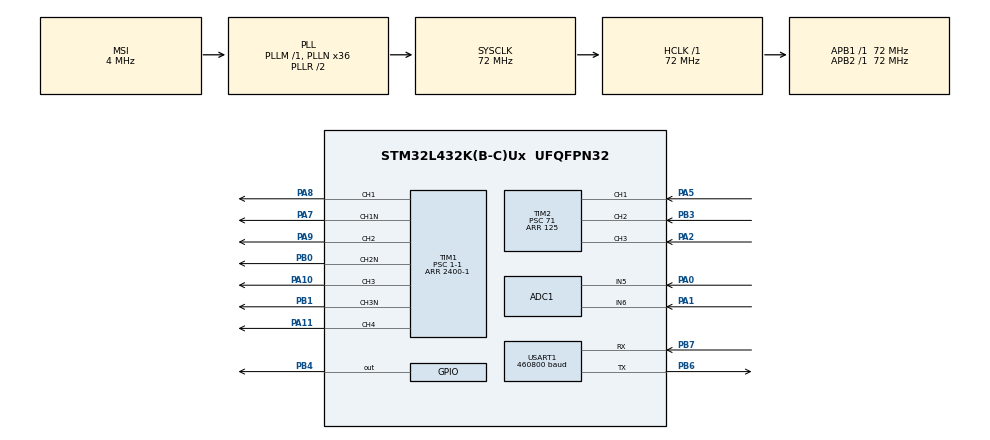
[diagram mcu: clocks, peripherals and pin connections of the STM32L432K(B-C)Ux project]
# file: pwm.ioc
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ADC1.Channel-0\#ChannelRegularConversion=ADC_CHANNEL_5
ADC1.Channel-1\#ChannelRegularConversion=ADC_CHANNEL_6
ADC1.ClockPrescaler=ADC_CLOCK_ASYNC_DIV4
ADC1.DMAContinuousRequests=ENABLE
ADC1.EOCSelection=ADC_EOC_SINGLE_CONV
ADC1.ExternalTrigConv=ADC_EXTERNALTRIG_T1_TRGO
ADC1.NbrOfConversion=2
ADC1.NbrOfConversionFlag=1
ADC1.OffsetNumber-0\#ChannelRegularConversion=ADC_OFFSET_NONE
ADC1.OffsetNumber-1\#ChannelRegularConversion=ADC_OFFSET_NONE
ADC1.Rank-0\#ChannelRegularConversion=1
ADC1.Rank-1\#ChannelRegularConversion=2
ADC1.SamplingTime-0\#ChannelRegularConversion=ADC_SAMPLETIME_2CYCLES_5
ADC1.SamplingTime-1\#ChannelRegularConversion=ADC_SAMPLETIME_2CYCLES_5
ADC1.master=1
Dma.ADC1.0.Direction=DMA_PERIPH_TO_MEMORY
Dma.ADC1.0.Instance=DMA1_Channel1
Dma.ADC1.0.MemDataAlignment=DMA_MDATAALIGN_WORD
Dma.ADC1.0.MemInc=DMA_MINC_ENABLE
Dma.ADC1.0.Mode=DMA_CIRCULAR
Dma.ADC1.0.PeriphDataAlignment=DMA_PDATAALIGN_WORD
Dma.ADC1.0.PeriphInc=DMA_PINC_DISABLE
Dma.ADC1.0.Priority=DMA_PRIORITY_HIGH
Dma.Request0=ADC1
Mcu.Family=STM32L4
Mcu.Name=STM32L432K(B-C)Ux
Mcu.Package=UFQFPN32
NVIC.ADC1_IRQn=true\:1\:0\:true\:false\:true\:true\:true\:true
NVIC.DMA1_Channel1_IRQn=true\:1\:0\:true\:false\:true\:false\:true\:true
NVIC.PriorityGroup=NVIC_PRIORITYGROUP_4
NVIC.TIM1_BRK_TIM15_IRQn=true\:0\:0\:true\:false\:true\:true\:true\:true
NVIC.TIM1_TRG_COM_IRQn=true\:0\:0\:false\:false\:true\:true\:true\:true
NVIC.TIM1_UP_TIM16_IRQn=true\:1\:0\:true\:false\:true\:true\:true\:true
NVIC.TIM2_IRQn=true\:0\:0\:false\:false\:true\:true\:true\:true
NVIC.TIM7_IRQn=true\:2\:0\:true\:false\:true\:true\:true\:true
PA0.Signal=ADCx_IN5
PA1.Signal=ADCx_IN6
PA10.GPIO_Speed=GPIO_SPEED_FREQ_VERY_HIGH
PA10.Signal=S_TIM1_CH3
PA11.GPIO_Speed=GPIO_SPEED_FREQ_VERY_HIGH
PA11.Signal=S_TIM1_CH4
PA13\ (JTMS-SWDIO).Mode=Serial_Wire
PA13\ (JTMS-SWDIO).Signal=SYS_JTMS-SWDIO
PA14\ (JTCK-SWCLK).Mode=Serial_Wire
PA14\ (JTCK-SWCLK).Signal=SYS_JTCK-SWCLK
PA2.GPIO_Speed=GPIO_SPEED_FREQ_VERY_HIGH
PA2.Signal=S_TIM2_CH3
PA5.GPIO_Speed=GPIO_SPEED_FREQ_VERY_HIGH
PA5.Signal=S_TIM2_CH1
PA7.GPIO_Speed=GPIO_SPEED_FREQ_VERY_HIGH
PA7.Mode=PWM Generation1 CH1 CH1N
PA7.Signal=TIM1_CH1N
PA8.GPIO_Speed=GPIO_SPEED_FREQ_VERY_HIGH
PA8.Signal=S_TIM1_CH1
PA9.GPIO_Speed=GPIO_SPEED_FREQ_VERY_HIGH
PA9.Signal=S_TIM1_CH2
PB0.GPIO_Speed=GPIO_SPEED_FREQ_VERY_HIGH
PB0.Mode=PWM Generation2 CH2 CH2N
PB0.Signal=TIM1_CH2N
PB1.GPIO_Speed=GPIO_SPEED_FREQ_VERY_HIGH
PB1.Mode=PWM Generation3 CH3 CH3N
PB1.Signal=TIM1_CH3N
PB3\ (JTDO-TRACESWO).GPIO_Speed=GPIO_SPEED_FREQ_VERY_HIGH
PB3\ (JTDO-TRACESWO).Signal=S_TIM2_CH2
PB4\ (NJTRST).GPIO_ModeDefaultOutputPP=GPIO_MODE_OUTPUT_PP
PB4\ (NJTRST).GPIO_Speed=GPIO_SPEED_FREQ_HIGH
PB4\ (NJTRST).Signal=GPIO_Output
PB6.Mode=Asynchronous
PB6.Signal=USART1_TX
PB7.Mode=Asynchronous
PB7.Signal=USART1_RX
PC14-OSC32_IN\ (PC14).Mode=LSE-External-Oscillator
PC14-OSC32_IN\ (PC14).Signal=RCC_OSC32_IN
PC15-OSC32_OUT\ (PC15).Mode=LSE-External-Oscillator
PC15-OSC32_OUT\ (PC15).Signal=RCC_OSC32_OUT
ProjectManager.HeapSize=0x200
ProjectManager.StackSize=0x400
ProjectManager.TargetToolchain=STM32CubeIDE
RCC.ADCFreq_Value=48000000
RCC.AHBFreq_Value=72000000
RCC.APB1Freq_Value=72000000
RCC.APB1TimFreq_Value=72000000
RCC.APB2Freq_Value=72000000
RCC.APB2TimFreq_Value=72000000
RCC.CortexFreq_Value=72000000
RCC.HCLKFreq_Value=72000000
RCC.HSE_VALUE=8000000
RCC.HSI48_VALUE=48000000
RCC.HSI_VALUE=16000000
RCC.MSI_VALUE=4000000
RCC.PLLN=36
RCC.PLLSAI1N=24
RCC.SYSCLKFreq_VALUE=72000000
RCC.SYSCLKSource=RCC_SYSCLKSOURCE_PLLCLK
RCC.USBFreq_Value=48000000
RCC.VCOOutputFreq_Value=144000000
SH.ADCx_IN5.0=ADC1_IN5,IN5-Single-Ended
SH.ADCx_IN6.0=ADC1_IN6,IN6-Single-Ended
SH.S_TIM1_CH1.0=TIM1_CH1,PWM Generation1 CH1 CH1N
SH.S_TIM1_CH2.0=TIM1_CH2,PWM Generation2 CH2 CH2N
SH.S_TIM1_CH3.0=TIM1_CH3,PWM Generation3 CH3 CH3N
SH.S_TIM1_CH4.0=TIM1_CH4,PWM Generation4 CH4
SH.S_TIM2_CH1.0=TIM2_CH1,Xored_Inputs_Hall_Sensor_Interface
SH.S_TIM2_CH2.0=TIM2_CH2,Xored_Inputs_Hall_Sensor_Interface
SH.S_TIM2_CH3.0=TIM2_CH3,Xored_Inputs_Hall_Sensor_Interface
TIM1.AutoReloadPreload=TIM_AUTORELOAD_PRELOAD_ENABLE
TIM1.Channel-PWM\ Generation1\ CH1\ CH1N=TIM_CHANNEL_1
TIM1.Channel-PWM\ Generation2\ CH2\ CH2N=TIM_CHANNEL_2
TIM1.Channel-PWM\ Generation3\ CH3\ CH3N=TIM_CHANNEL_3
TIM1.Channel-PWM\ Generation4\ CH4=TIM_CHANNEL_4
TIM1.CounterMode=TIM_COUNTERMODE_CENTERALIGNED3
TIM1.DeadTime=34
TIM1.Period=2400-1
TIM1.Prescaler=1-1
TIM1.Pulse-PWM\ Generation1\ CH1\ CH1N=0
TIM1.Pulse-PWM\ Generation2\ CH2\ CH2N=0
TIM1.Pulse-PWM\ Generation3\ CH3\ CH3N=0
TIM1.Pulse-PWM\ Generation4\ CH4=100
TIM1.TIM_MasterOutputTrigger=TIM_TRGO_UPDATE
TIM1.TIM_MasterSlaveMode=TIM_MASTERSLAVEMODE_ENABLE
TIM2.Commutation_Delay=5
TIM2.Period=125
TIM2.Prescaler=71
TIM6.Period=65535
TIM6.Prescaler=71
TIM7.Period=36000-1
TIM7.Prescaler=1
USART1.BaudRate=460800
USART1.VirtualMode-Asynchronous=VM_ASYNC
VP_TIM1_VS_ClockSourceINT.Mode=Internal
VP_TIM2_VS_ClockSourceINT.Mode=Internal
VP_TIM6_VS_ClockSourceINT.Mode=Enable_Timer
VP_TIM7_VS_ClockSourceINT.Mode=Enable_Timer
board=custom

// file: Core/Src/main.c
/* USER CODE BEGIN Header */
/**
  ******************************************************************************
  * @file           : main.c
  * @brief          : Main program body
  ******************************************************************************
  * @attention
  *
  * Copyright (c) 2025 STMicroelectronics.
  * All rights reserved.
  *
  * This software is licensed under terms that can be found in the LICENSE file
  * in the root directory of this software component.
  * If no LICENSE file comes with this software, it is provided AS-IS.
  *
  ******************************************************************************
  */
/* USER CODE END Header */
#include "main.h"
#include "adc.h"
#include "dma.h"
#include "tim.h"
#include "usart.h"
#include "gpio.h"

/* USER CODE BEGIN Includes */
#include <stdio.h>
#include <control1.h>
#include "stdio.h"
/* USER CODE END Includes */

/* USER CODE BEGIN PV */
123
Currents   IAlphaBeta;
Currents   Ioffset;
Currents   adc_avg;
Currents   adc_copy;
Currents   Iab;
Currents   Idq;
Voltages   VAlphaBeta;
Voltages   Vdq;

uint32_t msecCnt = 0;
PID_Struct Torque;
PID_Struct Flux;
PID_Struct Speed;
PID_Struct PLL_w;
PID_Struct Q;
uint16_t I0;
int16_t Iq_ref;
uint16_t theta=0, wm_e=0, Theta_e = 0;
uint16_t wm_cmd = 300;

int16_t Qi;

//volatile uint8_t hall_u_old, hall_u,hall_v_old, hall_v,hall_w_old, hall_w;
//volatile uint16_t speed_count = 0, speed = 0, theta_add = 0;
//volatile int32_t theta_ini = 0, theta_hall = 0, speed_old = 0;
//volatile int32_t speed_buf[12] = {0};
//volatile int32_t speed_avg = 0;
//volatile uint16_t wm_rpm = 0;
//volatile uint8_t buffer_count = 0, a = 0;

uint8_t hall_u, hall_v, hall_w, hall_u_old, hall_v_old, hall_w_old;
uint16_t  speed=0, speed_old=0, speed_count=0;
uint16_t theta_ini=0, theta_add=0;
uint16_t speed_buf[12]={0}, buffer_count=0;
int16_t wm_hall=0;
int16_t theta_hall=0, speed_avg=0;
uint8_t hall_index=0;

uint16_t spc=0;
const uint16_t HALL_ANGLE_TABLE[8]={0, 8333, 5000, 6666, 1666, 9999, 3333, 0};

/* USER CODE END PV */

void SystemClock_Config(void);

/* USER CODE BEGIN 0 */
void HAL_TIM_PeriodElapsedCallback(TIM_HandleTypeDef *htim);

/* USER CODE END 0 */

int main(void)
{

  /* MCU Configuration--------------------------------------------------------*/

  /* Reset of all peripherals, Initializes the Flash interface and the Systick. */
  HAL_Init();

  /* USER CODE BEGIN Init */
  HAL_Delay(2999);

  /* USER CODE END Init */

  /* Configure the system clock */
  SystemClock_Config();

  /* Initialize all configured peripherals */
  MX_GPIO_Init();
  MX_DMA_Init();
  MX_TIM1_Init();
  MX_ADC1_Init();
  MX_TIM7_Init();
  MX_USART1_UART_Init();
  MX_TIM2_Init();
  MX_TIM6_Init();
  /* USER CODE BEGIN 2 */
  HAL_ADCEx_Calibration_Start(&hadc1, ADC_SINGLE_ENDED);

//  HAL_ADC_Start_DMA(&hadc1,DataBuffer,BATCH_DATA_LEN);

  HAL_TIM_PWM_Start(&htim1, TIM_CHANNEL_1);
  HAL_TIMEx_PWMN_Start(&htim1, TIM_CHANNEL_1);
  HAL_TIM_PWM_Start(&htim1, TIM_CHANNEL_2);
  HAL_TIMEx_PWMN_Start(&htim1, TIM_CHANNEL_2);
  HAL_TIM_PWM_Start(&htim1, TIM_CHANNEL_3);
  HAL_TIMEx_PWMN_Start(&htim1, TIM_CHANNEL_3);
  HAL_TIM_OC_Start(&htim1, TIM_CHANNEL_4);
  HAL_ADC_Start_DMA(&hadc1,(uint32_t *)DataBuffer, BATCH_DATA_LEN);

  HAL_TIM_Base_Start_IT(&htim1);
  HAL_TIM_Base_Start_IT(&htim7);
  HAL_TIM_Base_Start_IT(&htim6);
  HAL_TIM_Base_Start_IT(&htim2); // 開啟中斷
//  HAL_TIMEx_HallSensor_Start_IT(&htim2);

  PID_Init(&Torque,&Flux,&Speed,&PLL_w,&Q);
//  uint16_t a, b, c;
  I0 = 300;
  Iq_ref = I0;
  /* USER CODE END 2 */

  /* Infinite loop */
  while (1)
  {

    /* USER CODE BEGIN 3 */
//	  a=__HAL_TIM_GET_COMPARE(&htim1, TIM_CHANNEL_1);
//	  b=__HAL_TIM_GET_COMPARE(&htim1, TIM_CHANNEL_2);
//	  c=__HAL_TIM_GET_COMPARE(&htim1, TIM_CHANNEL_3);
//	  printf(",%d, %d, %d\r\n", a,b,c);
//	  printf(",%d ,%d\r\n", adc_avg.IADC1,adc_avg.IADC2);
//	  printf("%d ,%d ,%d\r\n", Ioffset.IADC1,Ioffset.IADC2 ,msecCnt);

//	  printf(",%d,%d,%lu,%d\r\n",Idq.id,Idq.iq,msecCnt,Theta_e);

//	  printf(",%d,%d,%d,%d\r\n",Iab.ia,Iab.ib,msecCnt,Theta_e);
//	  printf(",%d,%d,%d\r\n",Vdq.vd,Vdq.vq,msecCnt);
//	  printf(",%d,%d,%d\r\n",IAlphaBeta.ialpha,IAlphaBeta.ibeta,msecCnt);
	  printf(",%d,%d,%d,%d,%d\r\n",IAlphaBeta.ialpha,IAlphaBeta.ibeta,Idq.id,Idq.iq,msecCnt);
//	  printf(",%d,%d,%d\r\n",wm_rpm,theta_hall,msecCnt);
//	  printf(",%d,%d,%d,%d\r\n",wm_hall,theta_hall,msecCnt,speed_count);
//	  printf("%d,%d,%d,%d,%d\r\n",msecCnt, Idq.id, Idq.iq, Qi, Iq_ref);
//
  }
  /* USER CODE END 3 */
}

void SystemClock_Config(void)
{
  RCC_OscInitTypeDef RCC_OscInitStruct = {0};
  RCC_ClkInitTypeDef RCC_ClkInitStruct = {0};

  /** Configure the main internal regulator output voltage
  */
  if (HAL_PWREx_ControlVoltageScaling(PWR_REGULATOR_VOLTAGE_SCALE1) != HAL_OK)
  {
    Error_Handler();
  }

  /** Configure LSE Drive Capability
  */
  HAL_PWR_EnableBkUpAccess();
  __HAL_RCC_LSEDRIVE_CONFIG(RCC_LSEDRIVE_LOW);

  /** Initializes the RCC Oscillators according to the specified parameters
  * in the RCC_OscInitTypeDef structure.
  */
  RCC_OscInitStruct.OscillatorType = RCC_OSCILLATORTYPE_LSE|RCC_OSCILLATORTYPE_MSI;
  RCC_OscInitStruct.LSEState = RCC_LSE_ON;
  RCC_OscInitStruct.MSIState = RCC_MSI_ON;
  RCC_OscInitStruct.MSICalibrationValue = 0;
  RCC_OscInitStruct.MSIClockRange = RCC_MSIRANGE_6;
  RCC_OscInitStruct.PLL.PLLState = RCC_PLL_ON;
  RCC_OscInitStruct.PLL.PLLSource = RCC_PLLSOURCE_MSI;
  RCC_OscInitStruct.PLL.PLLM = 1;
  RCC_OscInitStruct.PLL.PLLN = 36;
  RCC_OscInitStruct.PLL.PLLP = RCC_PLLP_DIV7;
  RCC_OscInitStruct.PLL.PLLQ = RCC_PLLQ_DIV2;
  RCC_OscInitStruct.PLL.PLLR = RCC_PLLR_DIV2;
  if (HAL_RCC_OscConfig(&RCC_OscInitStruct) != HAL_OK)
  {
    Error_Handler();
  }

  /** Initializes the CPU, AHB and APB buses clocks
  */
  RCC_ClkInitStruct.ClockType = RCC_CLOCKTYPE_HCLK|RCC_CLOCKTYPE_SYSCLK
                              |RCC_CLOCKTYPE_PCLK1|RCC_CLOCKTYPE_PCLK2;
  RCC_ClkInitStruct.SYSCLKSource = RCC_SYSCLKSOURCE_PLLCLK;
  RCC_ClkInitStruct.AHBCLKDivider = RCC_SYSCLK_DIV1;
  RCC_ClkInitStruct.APB1CLKDivider = RCC_HCLK_DIV1;
  RCC_ClkInitStruct.APB2CLKDivider = RCC_HCLK_DIV1;

  if (HAL_RCC_ClockConfig(&RCC_ClkInitStruct, FLASH_LATENCY_4) != HAL_OK)
  {
    Error_Handler();
  }

  /** Enable MSI Auto calibration
  */
  HAL_RCCEx_EnableMSIPLLMode();
}

/* USER CODE BEGIN 4 */
int _write(int file, char *ptr, int len)
{
  HAL_UART_Transmit(&huart1, (uint8_t *) ptr, len, 100);
  return len;
}

/* USER CODE END 4 */

void Error_Handler(void)
{
  __disable_irq();
  while (1)
  {
  }
}
